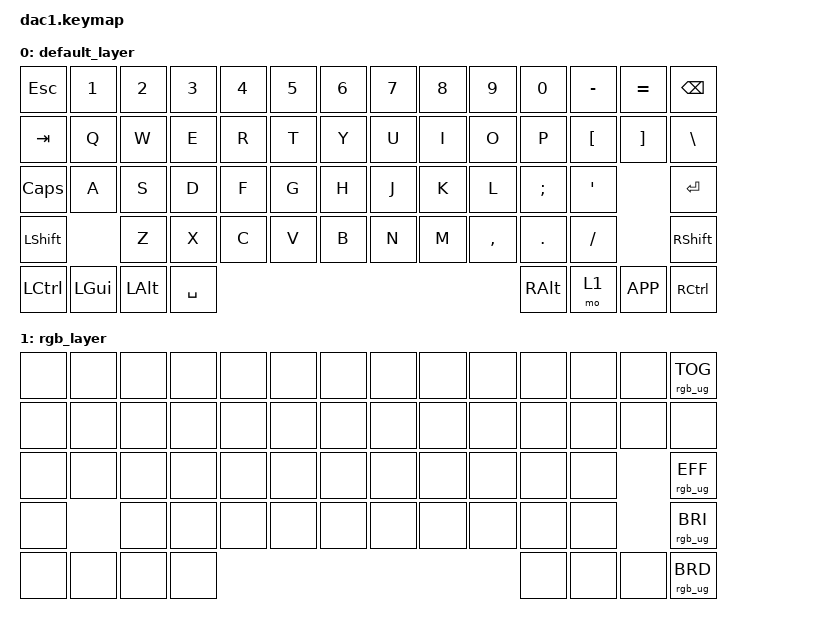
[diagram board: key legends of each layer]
#include <behaviors.dtsi>
#include <dt-bindings/zmk/keys.h>
#include <dt-bindings/zmk/rgb.h>

/ {
    keymap {
        compatible = "zmk,keymap";

        default_layer {
            bindings = <
                &kp ESC &kp N1 &kp N2 &kp N3 &kp N4 &kp N5 &kp N6 &kp N7 &kp N8 &kp N9 &kp N0 &kp MINUS &kp EQUAL &kp BSPC
                &kp TAB  &kp Q  &kp W  &kp E  &kp R  &kp T  &kp Y  &kp U  &kp I  &kp O  &kp P  &kp LBKT  &kp RBKT  &kp BSLH
                &kp CLCK  &kp A  &kp S  &kp D  &kp F  &kp G  &kp H  &kp J  &kp K  &kp L  &kp SEMI &kp SQT           &kp ENTER
                &kp LSHFT      &kp Z  &kp X  &kp C  &kp V  &kp B  &kp N  &kp M  &kp COMMA &kp DOT &kp FSLH          &kp RSHFT
                &kp LCTRL &kp LGUI &kp LALT             &kp SPACE                     &kp RALT  &mo 1  &kp K_APP  &kp RCTRL
            >;
        };

        rgb_layer {
            bindings = <
                &none &none &none &none &none &none &none &none &none &none &none &none &none &rgb_ug RGB_TOG
                &none &none &none &none &none &none &none &none &none &none &none &none &none &none
                &none &none &none &none &none &none &none &none &none &none &none &none       &rgb_ug RGB_EFF
                &none       &none &none &none &none &none &none &none &none &none &none       &rgb_ug RGB_BRI
                &none &none &none                   &none                     &none &none &none &rgb_ug RGB_BRD
            >;
        };
    };
};
